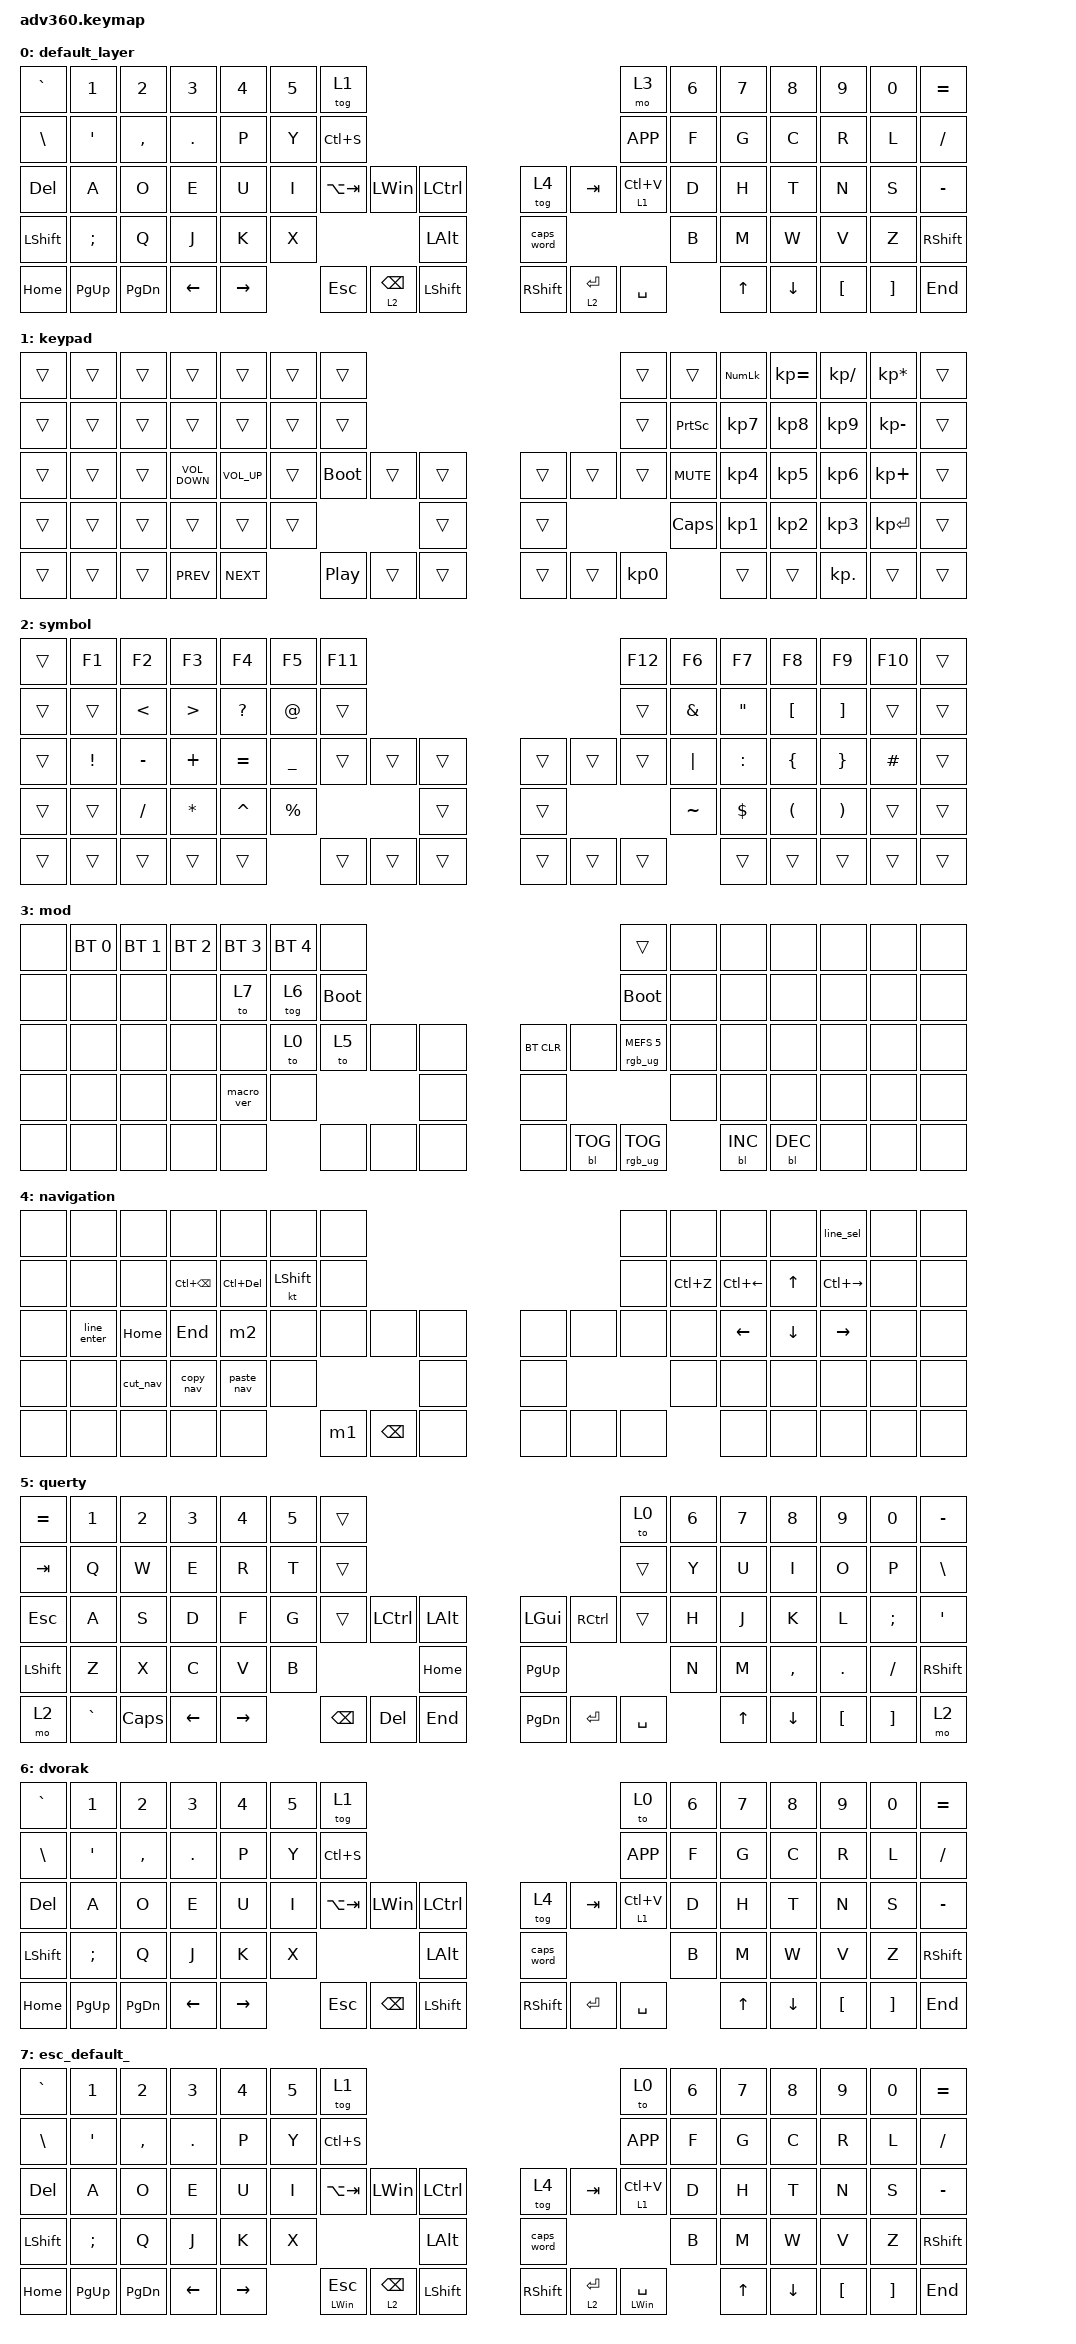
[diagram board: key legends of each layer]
#include <behaviors.dtsi>
#include <dt-bindings/zmk/backlight.h>
#include <dt-bindings/zmk/bt.h>
#include <dt-bindings/zmk/keys.h>
#include <dt-bindings/zmk/keys.h>
#include <dt-bindings/zmk/rgb.h>

/ {
    behaviors {
        #include "macros.dtsi"
      #include "version.dtsi"
      #ifndef VERSION_MACRO

        macro_ver: macro_ver {
            compatible = "zmk,behavior-macro";
            label = "macro_version";
            #binding-cells = <0>;
            bindings = <&kp RET>;
        };

        #endif

        hm: homerow_mods {
            compatible = "zmk,behavior-hold-tap";
            label = "HOMEROW_MODS";
            #binding-cells = <2>;
            tapping-term-ms = <200>;
            flavor = "tap-preferred";
            bindings = <&kp>, <&kp>;

            quick-tap-ms = <175>;
            require-prior-idle-ms = <74>;
        };

        test: test {
            compatible = "zmk,behavior-hold-tap";
            label = "TEST";
            bindings = <&kp>, <&kp>;

            #binding-cells = <2>;
            tapping-term-ms = <150>;
            flavor = "tap-preferred";
        };

        symbol: symbol {
            compatible = "zmk,behavior-hold-tap";
            label = "SYMBOL";
            bindings = <&mo>, <&kp>;

            #binding-cells = <2>;
            tapping-term-ms = <70>;
        };
    };

    macros {
        m1: m1 {
            compatible = "zmk,behavior-macro";
            label = "M1";
            #binding-cells = <0>;
            bindings =
                <&macro_release>,
                <&kp LEFT_SHIFT>,
                <&macro_press>,
                <&kp LC(A) &kp DELETE &to 0>;
        };

        m2: m2 {
            compatible = "zmk,behavior-macro";
            #binding-cells = <0>;
            bindings =
                <&macro_release>,
                <&kp LEFT_SHIFT>,
                <&macro_press>,
                <&to 0>;

            label = "M2";
        };

        line_sel: line_sel {
            compatible = "zmk,behavior-macro";
            #binding-cells = <0>;
            bindings = <&kp HOME &kp LS(END)>;
            label = "LINE_SEL";
        };

        line_enter: line_enter {
            compatible = "zmk,behavior-macro";
            #binding-cells = <0>;
            bindings = <&kp ENTER &to 0>;
            label = "LINE_ENTER";
        };

        copy_nav: copy {
            compatible = "zmk,behavior-macro";
            #binding-cells = <0>;
            bindings =
                <&macro_release>,
                <&kp LEFT_SHIFT>,
                <&macro_press>,
                <&to 0 &kp LC(C) &tog 4>;

            label = "COPY";
        };

        cut_nav: cut_nav {
            compatible = "zmk,behavior-macro";
            #binding-cells = <0>;
            bindings =
                <&macro_release>,
                <&kp LEFT_SHIFT>,
                <&macro_press>,
                <&to 0 &kp LC(X) &tog 4>;

            label = "CUT_NAV";
        };

        paste_nav: paste_nav {
            compatible = "zmk,behavior-macro";
            #binding-cells = <0>;
            bindings =
                <&macro_release>,
                <&kp LEFT_SHIFT>,
                <&macro_press>,
                <&to 0 &kp LC(V) &tog 4>;

            label = "PASTE_NAV";
        };
    };

    keymap {
        compatible = "zmk,keymap";

        default_layer {
            bindings = <
&kp GRAVE  &kp N1     &kp N2     &kp N3    &kp N4     &kp N5  &tog 1                                                                                    &mo 3            &kp N6  &kp N7  &kp N8    &kp N9    &kp N0    &kp EQUAL
&kp BSLH   &kp SQT    &kp COMMA  &kp DOT   &kp P      &kp Y   &kp LC(S)                                                                                 &kp K_APP        &kp F   &kp G   &kp C     &kp R     &kp L     &kp FSLH
&kp DEL    &kp A      &kp O      &kp E     &kp U      &kp I   &kp LA(TAB)  &kp LEFT_WIN         &kp LEFT_CONTROL      &tog 4           &kp TAB          &symbol 1 LC(V)  &kp D   &kp H   &kp T     &kp N     &kp S     &kp MINUS
&kp LSHFT  &kp SEMI   &kp Q      &kp J     &kp K      &kp X                                     &kp LEFT_ALT          &caps_word                                         &kp B   &kp M   &kp W     &kp V     &kp Z     &kp RSHFT
&kp HOME   &kp PG_UP  &kp PG_DN  &kp LEFT  &kp RIGHT          &kp ESCAPE   &symbol 2 BACKSPACE  &kp LEFT_SHIFT        &kp RIGHT_SHIFT  &symbol 2 ENTER  &kp SPACE                &kp UP  &kp DOWN  &kp LBKT  &kp RBKT  &kp END
            >;
        };

        keypad {
            bindings = <
&trans  &trans  &trans  &trans             &trans           &trans  &trans                                                &trans     &trans           &kp KP_NUM  &kp KP_EQUAL  &kp KP_DIVIDE  &kp KP_MULTIPLY  &trans
&trans  &trans  &trans  &trans             &trans           &trans  &trans                                                &trans     &kp PRINTSCREEN  &kp KP_N7   &kp KP_N8     &kp KP_N9      &kp KP_MINUS     &trans
&trans  &trans  &trans  &kp C_VOLUME_DOWN  &kp C_VOLUME_UP  &trans  &bootloader       &trans  &trans      &trans  &trans  &trans     &kp C_MUTE       &kp KP_N4   &kp KP_N5     &kp KP_N6      &kp KP_PLUS      &trans
&trans  &trans  &trans  &trans             &trans           &trans                            &trans      &trans                     &kp CAPSLOCK     &kp KP_N1   &kp KP_N2     &kp KP_N3      &kp KP_ENTER     &trans
&trans  &trans  &trans  &kp C_PREV         &kp C_NEXT               &kp C_PLAY_PAUSE  &trans  &trans      &trans  &trans  &kp KP_N0                   &trans      &trans        &kp KP_DOT     &trans           &trans
            >;
        };

        symbol {
            bindings = <
&trans  &kp F1           &kp F2         &kp F3            &kp F4        &kp F5       &kp F11                                      &kp F12  &kp F6         &kp F7             &kp F8                &kp F9                 &kp F10   &trans
&trans  &trans           &kp LESS_THAN  &kp GREATER_THAN  &kp QUESTION  &kp AT_SIGN  &trans                                       &trans   &kp AMPERSAND  &kp DOUBLE_QUOTES  &kp LEFT_BRACKET      &kp RIGHT_BRACKET      &trans    &trans
&trans  &kp EXCLAMATION  &kp MINUS      &kp PLUS          &kp EQUAL     &kp UNDER    &trans   &trans  &trans      &trans  &trans  &trans   &kp PIPE       &kp COLON          &kp LEFT_BRACE        &kp RIGHT_BRACE        &kp HASH  &trans
&trans  &trans           &kp FSLH       &kp ASTERISK      &kp CARET     &kp PERCENT                   &trans      &trans                   &kp TILDE      &kp DOLLAR         &kp LEFT_PARENTHESIS  &kp RIGHT_PARENTHESIS  &trans    &trans
&trans  &trans           &trans         &trans            &trans                     &trans   &trans  &trans      &trans  &trans  &trans                  &trans             &trans                &trans                 &trans    &trans
            >;
        };

        mod {
            bindings = <
&none  &bt BT_SEL 0  &bt BT_SEL 1  &bt BT_SEL 2  &bt BT_SEL 3  &bt BT_SEL 4  &none                                                  &trans                  &none  &none       &none       &none  &none  &none
&none  &none         &none         &none         &to 7         &tog 6        &bootloader                                            &bootloader             &none  &none       &none       &none  &none  &none
&none  &none         &none         &none         &none         &to 0         &to 5        &none  &none      &bt BT_CLR  &none       &rgb_ug RGB_MEFS_CMD 5  &none  &none       &none       &none  &none  &none
&none  &none         &none         &none         &macro_ver    &none                             &none      &none                                           &none  &none       &none       &none  &none  &none
&none  &none         &none         &none         &none                       &none        &none  &none      &none       &bl BL_TOG  &rgb_ug RGB_TOG                &bl BL_INC  &bl BL_DEC  &none  &none  &none
            >;
        };

        navigation {
            bindings = <
&none  &none        &none     &none              &none           &none           &none                                          &none  &none      &none         &none     &line_sel      &none  &none
&none  &none        &none     &kp LC(BACKSPACE)  &kp LC(DELETE)  &kt LEFT_SHIFT  &none                                          &none  &kp LC(Z)  &kp LC(LEFT)  &kp UP    &kp LC(RIGHT)  &none  &none
&none  &line_enter  &kp HOME  &kp END            &m2             &none           &none  &none          &none      &none  &none  &none  &none      &kp LEFT      &kp DOWN  &kp RIGHT      &none  &none
&none  &none        &cut_nav  &copy_nav          &paste_nav      &none                                 &none      &none                &none      &none         &none     &none          &none  &none
&none  &none        &none     &none              &none                           &m1    &kp BACKSPACE  &none      &none  &none  &none             &none         &none     &none          &none  &none
            >;
        };

        querty {
            bindings = <
&kp EQUAL  &kp N1     &kp N2    &kp N3    &kp N4     &kp N5  &trans                                                   &to 0      &kp N6  &kp N7  &kp N8     &kp N9    &kp N0    &kp MINUS
&kp TAB    &kp Q      &kp W     &kp E     &kp R      &kp T   &trans                                                   &trans     &kp Y   &kp U   &kp I      &kp O     &kp P     &kp BSLH
&kp ESC    &kp A      &kp S     &kp D     &kp F      &kp G   &trans    &kp LCTRL  &kp LALT      &kp LGUI   &kp RCTRL  &trans     &kp H   &kp J   &kp K      &kp L     &kp SEMI  &kp SQT
&kp LSHFT  &kp Z      &kp X     &kp C     &kp V      &kp B                        &kp HOME      &kp PG_UP                        &kp N   &kp M   &kp COMMA  &kp DOT   &kp FSLH  &kp RSHFT
&mo 2      &kp GRAVE  &kp CAPS  &kp LEFT  &kp RIGHT          &kp BSPC  &kp DEL    &kp END       &kp PG_DN  &kp ENTER  &kp SPACE          &kp UP  &kp DOWN   &kp LBKT  &kp RBKT  &mo 2
            >;
        };

        dvorak {
            bindings = <
&kp GRAVE  &kp N1     &kp N2     &kp N3    &kp N4     &kp N5  &tog 1                                                                        &to 0            &kp N6  &kp N7  &kp N8    &kp N9    &kp N0    &kp EQUAL
&kp BSLH   &kp SQT    &kp COMMA  &kp DOT   &kp P      &kp Y   &kp LC(S)                                                                     &kp K_APP        &kp F   &kp G   &kp C     &kp R     &kp L     &kp FSLH
&kp DEL    &kp A      &kp O      &kp E     &kp U      &kp I   &kp LA(TAB)  &kp LEFT_WIN   &kp LEFT_CONTROL      &tog 4           &kp TAB    &symbol 1 LC(V)  &kp D   &kp H   &kp T     &kp N     &kp S     &kp MINUS
&kp LSHFT  &kp SEMI   &kp Q      &kp J     &kp K      &kp X                               &kp LEFT_ALT          &caps_word                                   &kp B   &kp M   &kp W     &kp V     &kp Z     &kp RSHFT
&kp HOME   &kp PG_UP  &kp PG_DN  &kp LEFT  &kp RIGHT          &kp ESCAPE   &kp BACKSPACE  &kp LEFT_SHIFT        &kp RIGHT_SHIFT  &kp ENTER  &kp SPACE                &kp UP  &kp DOWN  &kp LBKT  &kp RBKT  &kp END
            >;
        };

        esc_default_ {
            bindings = <
&kp GRAVE  &kp N1     &kp N2     &kp N3    &kp N4     &kp N5  &tog 1                                                                                            &to 0               &kp N6  &kp N7  &kp N8    &kp N9    &kp N0    &kp EQUAL
&kp BSLH   &kp SQT    &kp COMMA  &kp DOT   &kp P      &kp Y   &kp LC(S)                                                                                         &kp K_APP           &kp F   &kp G   &kp C     &kp R     &kp L     &kp FSLH
&kp DEL    &kp A      &kp O      &kp E     &kp U      &kp I   &kp LA(TAB)          &kp LEFT_WIN         &kp LEFT_CONTROL      &tog 4           &kp TAB          &symbol 1 LC(V)     &kp D   &kp H   &kp T     &kp N     &kp S     &kp MINUS
&kp LSHFT  &kp SEMI   &kp Q      &kp J     &kp K      &kp X                                             &kp LEFT_ALT          &caps_word                                            &kp B   &kp M   &kp W     &kp V     &kp Z     &kp RSHFT
&kp HOME   &kp PG_UP  &kp PG_DN  &kp LEFT  &kp RIGHT          &mt LEFT_WIN ESCAPE  &symbol 2 BACKSPACE  &kp LEFT_SHIFT        &kp RIGHT_SHIFT  &symbol 2 ENTER  &mt LEFT_WIN SPACE          &kp UP  &kp DOWN  &kp LBKT  &kp RBKT  &kp END
            >;
        };
    };
};
